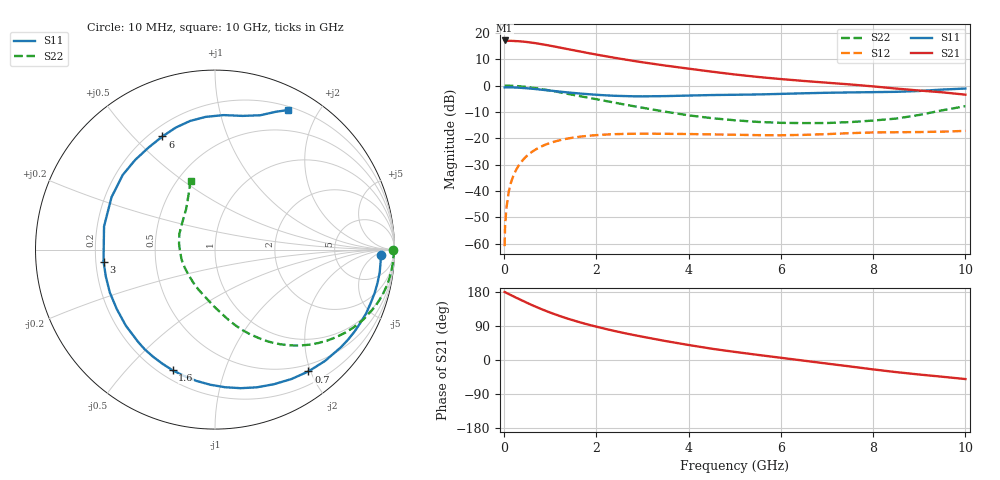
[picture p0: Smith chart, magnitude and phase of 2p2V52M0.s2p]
! (c) 2009  Infineon Technologies AG, Munich
! Infineon Technologies  Discrete & RF Semiconductors
! BFP420
! VCE =  2.5 V,  IC =  2.0 mA
! Common Emitter S-Parameters:  Nov 2009
# GHz  S  MA  R  50
!  f  S11  S21  S12  S22
! GHz  MAG  ANG  MAG  ANG  MAG  ANG  MAG  ANG
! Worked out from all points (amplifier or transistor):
!   46 points, 10 MHz to 10 GHz, reference 50 ohm
!   highest |S21| = 17.1 dB at 10 MHz (marker M1)
!   |S21| within 3 dB of that: start of sweep to 1.295 GHz
!   unconditionally stable (mu >= 1): 3.91 GHz to end of sweep
!   at 300 MHz: K = 0.04, MSG = 23.8 dB, |S12| = -30.8 dB
!   at 1.7 GHz: K = 0.35, MSG = 16.0 dB, |S12| = -19.3 dB
!   at 10 GHz: K = 1.22, MAG = 4.0 dB, |S12| = -17.2 dB
!   lowest NFmin = 0.53 dB at 900 MHz
!   S11 on the Smith chart (normalised r, x): 10 MHz: 22, -9; 700 MHz: 0.39, -1.97; 1.6 GHz: 0.25, -0.68; 3 GHz: 0.23, -0.05; 6 GHz: 0.25, +0.61; 10 GHz: 0.24, +1.63
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0.01  0.9251 -1.7  7.172 179.4  0.0009 100.3  0.9942 0.0
0.02  0.9279 -1.6  6.984 179.1  0.0022 90.8  0.9951 -0.8
0.05  0.9253 -3.7  7.018 177.0  0.0048 87.1  0.9954 -2.1
0.15  0.9243 -11.5  7.047 171.1  0.0147 83.5  0.9905 -6.5
0.3  0.914 -22.9  6.943 162.2  0.029 77.0  0.9742 -13.0
0.45  0.895 -34.2  6.764 153.6  0.0427 70.6  0.9482 -19.2
0.7  0.8554 -52.5  6.334 139.8  0.0627 60.4  0.8879 -29.0
0.9  0.8189 -66.3  5.907 129.8  0.076 53.1  0.8324 -35.9
1.1  0.7853 -79.5  5.482 120.7  0.087 46.5  0.7753 -42.2
1.4  0.7388 -98.1  4.875 108.3  0.0997 37.7  0.6918 -50.6
1.6  0.7129 -109.3  4.51 101.0  0.106 32.7  0.6406 -55.4
1.7  0.7 -114.8  4.344 97.5  0.1088 30.4  0.6167 -57.6
2.2  0.6531 -139.5  3.605 82.0  0.1177 20.2  0.5106 -67.5
2.6  0.6329 -157.8  3.143 71.1  0.1211 13.4  0.4389 -74.7
3  0.6247 -173.9  2.765 61.4  0.1222 8.1  0.3799 -81.3
3.5  0.6315 168.2  2.392 50.0  0.1216 2.5  0.3186 -90.6
4.5  0.6613 141.0  1.837 29.8  0.1187 -5.1  0.2411 -112.4
5.5  0.6786 123.0  1.458 13.5  0.1148 -8.9  0.2046 -135.7
6  0.6953 114.9  1.328 5.9  0.1143 -9.5  0.1964 -148.9
7  0.7301 100.9  1.133 -9.5  0.1201 -10.8  0.1949 -175.4
8.5  0.7607 78.3  0.877 -32.0  0.1304 -18.2  0.2367 140.3
10  0.8786 62.3  0.672 -50.3  0.1382 -22.7  0.4069 109.6
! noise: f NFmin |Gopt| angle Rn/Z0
0.9  0.53  0.47  33  0.22
1.8  1.03  0.29  77  0.17
2.4  1.13  0.31  102  0.16
3  1.32  0.31  136  0.12
4  1.57  0.37  -168  0.1
5  1.96  0.42  -129  0.28
6  2.72  0.51  -111  0.37
